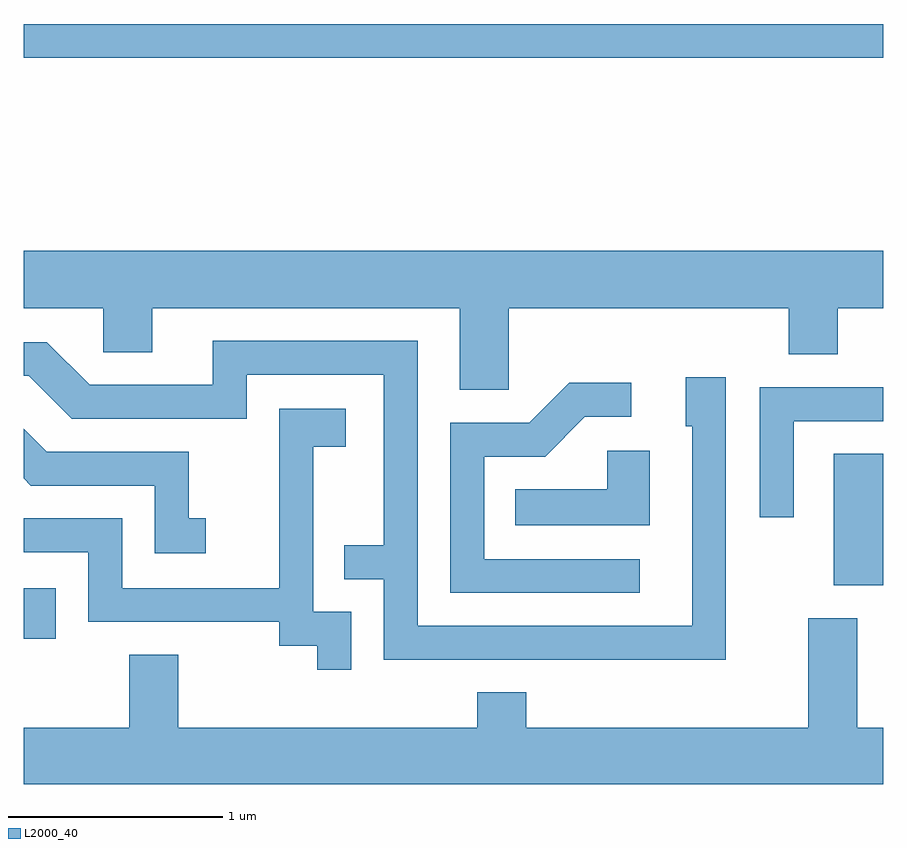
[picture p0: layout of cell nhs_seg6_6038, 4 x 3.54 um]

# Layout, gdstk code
import gdstk
lib = gdstk.Library(unit=1e-6, precision=1e-09)
def R(c, l, rs):  # rectangles x0, y0, x1, y1
    for r in rs: c.add(gdstk.rectangle(r[:2], r[2:], *l))
def P(c, l, *ps):  # polygons
    for p in ps: c.add(gdstk.Polygon(p, *l))
L2000_40 = (2000, 40)

nhs_seg6_6038 = lib.new_cell('nhs_seg6_6038')
R(nhs_seg6_6038, L2000_40, [(367.611,1652.838,367.759,1653.074), (371.381,1653.086,371.611,1653.699), (367.611,1655.541,371.611,1655.699)])
P(nhs_seg6_6038, L2000_40, [(369.869,1654.376),(371.171,1654.376),(371.171,1654.161),(371.399,1654.161),(371.399,1654.376),(371.611,1654.376),(371.611,1654.644),(367.611,1654.644),(367.611,1654.376),(367.981,1654.376),(367.981,1654.171),(368.209,1654.171),(368.209,1654.376),(369.641,1654.376),(369.641,1653.996),(369.869,1653.996)],
  [(370.879,1654.054),(370.691,1654.054),(370.691,1653.826),(370.721,1653.826),(370.721,1652.899),(369.444,1652.899),(369.444,1654.224),(368.491,1654.224),(368.491,1654.019),(367.917,1654.019),(367.717,1654.219),(367.611,1654.219),(367.611,1654.061),(367.634,1654.061),(367.834,1653.861),(368.649,1653.861),(368.649,1654.066),(369.286,1654.066),(369.286,1653.274),(369.103,1653.274),(369.103,1653.116),(369.286,1653.116),(369.286,1652.741),(370.879,1652.741)],
  [(370.478,1653.209),(369.754,1653.209),(369.754,1653.686),(370.037,1653.686),(370.222,1653.871),(370.438,1653.871),(370.438,1654.029),(370.149,1654.029),(369.964,1653.844),(369.596,1653.844),(369.596,1653.051),(370.478,1653.051)],
  [(371.194,1653.851),(371.611,1653.851),(371.611,1654.009),(371.036,1654.009),(371.036,1653.403),(371.194,1653.403)],
  [(369.134,1652.964),(368.959,1652.964),(368.959,1653.731),(369.109,1653.731),(369.109,1653.909),(368.801,1653.909),(368.801,1653.074),(368.069,1653.074),(368.069,1653.399),(367.611,1653.399),(367.611,1653.241),(367.911,1653.241),(367.911,1652.916),(368.801,1652.916),(368.801,1652.806),(368.976,1652.806),(368.976,1652.693),(369.134,1652.693)],
  [(368.458,1653.399),(368.379,1653.399),(368.379,1653.709),(367.717,1653.709),(367.611,1653.815),(367.611,1653.584),(367.644,1653.551),(368.221,1653.551),(368.221,1653.236),(368.458,1653.236)],
  [(370.524,1653.714),(370.326,1653.714),(370.326,1653.534),(369.898,1653.534),(369.898,1653.366),(370.524,1653.366)],
  [(371.611,1652.424),(371.489,1652.424),(371.489,1652.934),(371.261,1652.934),(371.261,1652.424),(369.949,1652.424),(369.949,1652.589),(369.721,1652.589),(369.721,1652.424),(368.329,1652.424),(368.329,1652.764),(368.101,1652.764),(368.101,1652.424),(367.611,1652.424),(367.611,1652.162),(371.611,1652.162)])

lib.write_gds('nhs_seg6_6038.gds')
